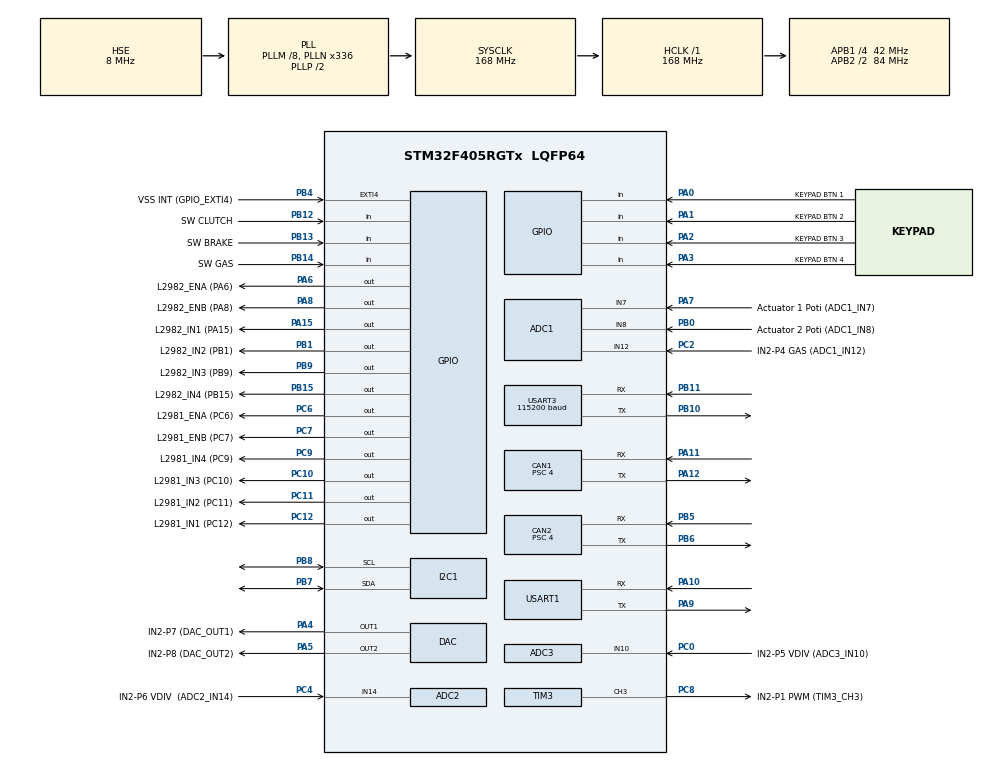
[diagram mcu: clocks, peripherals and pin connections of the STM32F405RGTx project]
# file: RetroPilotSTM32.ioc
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Mcu.Family=STM32F4
NVIC.USART3_IRQn=true\:0\:0\:false\:false\:true\:true\:true
PA2.GPIO_PuPd=GPIO_PULLUP
PH0-OSC_IN.Signal=RCC_OSC_IN
RCC.CortexFreq_Value=168000000
NVIC.CAN2_RX0_IRQn=true\:0\:0\:false\:false\:true\:true\:true
PB10.Mode=Asynchronous
ADC2.Channel-0\#ChannelRegularConversion=ADC_CHANNEL_14
PB4.GPIO_ModeDefaultEXTI=GPIO_MODE_IT_FALLING
PC10.Signal=GPIO_Output
PC12.Signal=GPIO_Output
PB14.GPIO_Label=SW GAS
VP_IWDG_VS_IWDG.Mode=IWDG_Activate
PA3.GPIO_PuPd=GPIO_PULLUP
PC0.GPIO_Label=IN2-P5 VDIV (ADC3_IN10)
PC6.GPIO_Label=L2981_ENA (PC6)
PA11.Mode=Master
PA6.GPIO_Label=L2982_ENA (PA6)
PB0.GPIO_Label=Actuator 2 Poti (ADC1_IN8)
PB13.GPIO_Label=SW BRAKE
PB11.Signal=USART3_RX
PB13.Signal=GPIO_Input
PB15.Signal=GPIO_Output
ADC3.Channel-0\#ChannelRegularConversion=ADC_CHANNEL_10
RCC.SYSCLKSource=RCC_SYSCLKSOURCE_PLLCLK
ProjectManager.StackSize=0x400
SH.COMP_DAC2_group.0=DAC_OUT2,DAC_OUT2
PA15.GPIO_Label=L2982_IN1 (PA15)
PA12.Signal=CAN1_TX
USART3.BaudRate=115200
NVIC.CAN1_TX_IRQn=true\:0\:0\:false\:false\:true\:true\:true
RCC.HCLKFreq_Value=168000000
RCC.APB2TimFreq_Value=168000000
TIM3.Period=2000
PB6.Signal=CAN2_TX
PC7.Signal=GPIO_Output
PB6.Mode=Slave
TIM2.ClockDivision=TIM_CLOCKDIVISION_DIV1
NVIC.CAN1_SCE_IRQn=true\:0\:0\:false\:false\:true\:true\:true
PA1.GPIO_PuPd=GPIO_PULLUP
RCC.AHBFreq_Value=168000000
PH0-OSC_IN.Mode=HSE-External-Oscillator
ADC1.Channel-0\#ChannelRegularConversion=ADC_CHANNEL_7
RCC.HSE_VALUE=8000000
PB12.GPIO_Label=SW CLUTCH
PC4.GPIO_Label=IN2-P6 VDIV  (ADC2_IN14)
PA14.Mode=Serial_Wire
CAN2.Prescaler=4
TIM3.Prescaler=42
PB1.GPIO_Label=L2982_IN2 (PB1)
PC11.GPIO_Label=L2981_IN2 (PC11)
PB5.Mode=Slave
NVIC.TIM2_IRQn=true\:0\:0\:false\:false\:true\:true\:true
SH.ADCx_IN8.0=ADC1_IN8,IN8
PB7.Signal=I2C1_SDA
PA8.Signal=GPIO_Output
ADC1.SamplingTime-0\#ChannelRegularConversion=ADC_SAMPLETIME_3CYCLES
PH1-OSC_OUT.Mode=HSE-External-Oscillator
CAN1.Prescaler=4
Mcu.Package=LQFP64
PB9.Signal=GPIO_Output
TIM2.Prescaler=21000-1
PB14.GPIO_PuPd=GPIO_PULLUP
PB1.Signal=GPIO_Output
PA6.Signal=GPIO_Output
CAN2.BS1=CAN_BS1_14TQ
CAN2.BS2=CAN_BS2_6TQ
SH.ADCx_IN14.0=ADC2_IN14,IN14
PA2.GPIO_Label=KEYPAD BTN 3
ADC3.Rank-0\#ChannelRegularConversion=1
IWDG.Reload=100
PA10.Signal=USART1_RX
PA15.Signal=GPIO_Output
ADC2.SamplingTime-0\#ChannelRegularConversion=ADC_SAMPLETIME_3CYCLES
RCC.APB2CLKDivider=RCC_HCLK_DIV2
RCC.APB1TimFreq_Value=84000000
ADC2.Rank-0\#ChannelRegularConversion=1
NVIC.USART1_IRQn=true\:0\:0\:false\:false\:true\:true\:true
PA4.GPIO_Label=IN2-P7 (DAC_OUT1)
PC2.GPIO_Label=IN2-P4 GAS (ADC1_IN12)
NVIC.RCC_IRQn=true\:0\:0\:false\:false\:true\:true\:false
PB4.Signal=GPXTI4
PA3.Signal=GPIO_Input
CAN1.CalculateTimeQuantum=95.23809523809524
RCC.PLLSourceVirtual=RCC_PLLSOURCE_HSE
SH.COMP_DAC1_group.0=DAC_OUT1,DAC_OUT1
NVIC.EXTI4_IRQn=true\:0\:0\:false\:false\:true\:true\:true
NVIC.CAN2_TX_IRQn=true\:0\:0\:false\:false\:true\:true\:true
ADC1.Rank-0\#ChannelRegularConversion=1
PB9.GPIO_Label=L2982_IN3 (PB9)
PA10.Mode=Asynchronous
PC10.GPIO_Label=L2981_IN3 (PC10)
PC9.GPIO_Label=L2981_IN4 (PC9)
PC11.Signal=GPIO_Output
PC8.Signal=S_TIM3_CH3
PC4.Signal=ADCx_IN14
PC2.Signal=ADCx_IN12
PC6.Signal=GPIO_Output
PC0.Signal=ADCx_IN10
RCC.APB1CLKDivider=RCC_HCLK_DIV4
SH.S_TIM3_CH3.0=TIM3_CH3,PWM Generation3 CH3
PA0-WKUP.GPIO_Label=KEYPAD BTN 1
PA0-WKUP.Signal=GPIO_Input
PC8.GPIO_Label=IN2-P1 PWM (TIM3_CH3)
PA13.Signal=SYS_JTMS-SWDIO
TIM3.Channel-PWM\ Generation3\ CH3=TIM_CHANNEL_3
SH.ADCx_IN12.0=ADC1_IN12,IN12
PA9.Mode=Asynchronous
ADC3.SamplingTime-0\#ChannelRegularConversion=ADC_SAMPLETIME_3CYCLES
PA8.GPIO_Label=L2982_ENB (PA8)
CAN1.BS2=CAN_BS2_6TQ
PB11.Mode=Asynchronous
CAN1.BS1=CAN_BS1_14TQ
ProjectManager.TargetToolchain=Other Toolchains (GPDSC)
SH.ADCx_IN7.0=ADC1_IN7,IN7
PA9.Signal=USART1_TX
RCC.HSE_Timout=500
PB4.GPIO_PuPd=GPIO_PULLUP
RCC.LSE_VALUE=32768
PA1.Signal=GPIO_Input
PB10.Signal=USART3_TX
PB14.Signal=GPIO_Input
PA5.Signal=COMP_DAC2_group
board=custom
RCC.VCOOutputFreq_Value=336000000
PB13.GPIO_PuPd=GPIO_PULLUP
RCC.APB2Freq_Value=84000000
PB4.GPIO_Label=VSS INT (GPIO_EXTI4)
PB15.GPIO_Label=L2982_IN4 (PB15)
VP_TIM2_VS_ClockSourceINT.Mode=Internal
PA1.GPIO_Label=KEYPAD BTN 2
CAN2.CalculateTimeQuantum=95.23809523809524
PH1-OSC_OUT.Signal=RCC_OSC_OUT
TIM2.Period=4-1
PA13.Mode=Serial_Wire
Mcu.Name=STM32F405RGTx
PA2.Signal=GPIO_Input
PC7.GPIO_Label=L2981_ENB (PC7)
RCC.48MHZClocksFreq_Value=84000000
PA4.Signal=COMP_DAC1_group
RCC.SYSCLKFreq_VALUE=168000000
PB5.Signal=CAN2_RX
PA7.GPIO_Label=Actuator 1 Poti (ADC1_IN7)
ADC1.master=1
PA12.Mode=Master
PA5.GPIO_Label=IN2-P8 (DAC_OUT2)
ADC2.NbrOfConversionFlag=1
USART3.VirtualMode=VM_ASYNC
PC12.GPIO_Label=L2981_IN1 (PC12)
USART1.VirtualMode=VM_ASYNC
PA11.Signal=CAN1_RX
PB7.Mode=I2C
PA14.Signal=SYS_JTCK-SWCLK
SH.ADCx_IN10.0=ADC3_IN10,IN10
ProjectManager.HeapSize=0x200
NVIC.CAN2_SCE_IRQn=true\:0\:0\:false\:false\:true\:true\:true
RCC.HSI_VALUE=16000000
NVIC.PriorityGroup=NVIC_PRIORITYGROUP_4
ADC1.NbrOfConversionFlag=1
RCC.PLLM=8
PB8.Mode=I2C
RCC.PLLN=336
IWDG.Prescaler=IWDG_PRESCALER_32
PB8.Signal=I2C1_SCL
PA0-WKUP.GPIO_PuPd=GPIO_PULLUP
PC9.Signal=GPIO_Output
PB12.GPIO_PuPd=GPIO_PULLUP
RCC.APB1Freq_Value=42000000
ADC3.NbrOfConversionFlag=1
PB0.Signal=ADCx_IN8
PB12.Signal=GPIO_Input
NVIC.CAN1_RX0_IRQn=true\:0\:0\:false\:false\:true\:true\:true
PA3.GPIO_Label=KEYPAD BTN 4
PA7.Signal=ADCx_IN7

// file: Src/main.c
/* USER CODE BEGIN Header */
/**
  ******************************************************************************
  * @file           : main.c
  * @brief          : Main program body
  ******************************************************************************
  * @attention
  *
  * <h2><center>&copy; Copyright (c) 2020 STMicroelectronics.
  * All rights reserved.</center></h2>
  *
  * This software component is licensed by ST under BSD 3-Clause license,
  * the "License"; You may not use this file except in compliance with the
  * License. You may obtain a copy of the License at:
  *                        opensource.org/licenses/BSD-3-Clause
  *
  ******************************************************************************
  */
/* USER CODE END Header */
#include "main.h"
#include "adc.h"
#include "can.h"
#include "dac.h"
#include "i2c.h"
#include "iwdg.h"
#include "tim.h"
#include "usart.h"
#include "gpio.h"

/* USER CODE BEGIN Includes */

#include <stdio.h>
#include "core.h"
#include "uart.h"
#include "critical.h"
#include "logger.h"
#include "can_handler.h"
#include "retropilot/canhelper.h"

#ifdef MODULE_RETROPILOT_ECU
#include "retropilot/main.h"
#endif
#ifdef MODULE_PEDAL
#include "pedal/main.h"
#endif
#ifdef MODULE_CANFILTER
#include "canfilter/main.h"
#endif

/* USER CODE END Includes */

/* USER CODE BEGIN PV */

/**
  * @brief  Period elapsed callback in non blocking mode
  * @param  htim: TIM handle
  * @retval None
  */
void HAL_TIM_PeriodElapsedCallback(TIM_HandleTypeDef *htim)
{
  if (htim->Instance == htim2.Instance)
  {
      can_send_internal();
  }

  module_timer(htim);
}

/**
  * @brief EXTI line detection callbacks
  * @param GPIO_Pin: Specifies the pins connected EXTI line
  * @retval None
  */
void HAL_GPIO_EXTI_Callback(uint16_t GPIO_Pin)
{
  module_interrupt(GPIO_Pin);
}

void MX_CAN1_Start() {
/*##-2- Configure the CAN Filter ###########################################*/
  CAN_FilterTypeDef  sFilterConfig;

  sFilterConfig.FilterBank = 0;
  sFilterConfig.FilterMode = CAN_FILTERMODE_IDMASK;
  sFilterConfig.FilterScale = CAN_FILTERSCALE_32BIT;
  sFilterConfig.FilterIdHigh = 0x0000;
  sFilterConfig.FilterIdLow = 0x0000;
  sFilterConfig.FilterMaskIdHigh = 0x0000;
  sFilterConfig.FilterMaskIdLow = 0x0000;
  sFilterConfig.FilterFIFOAssignment = CAN_RX_FIFO0;
  sFilterConfig.FilterActivation = ENABLE;
  sFilterConfig.SlaveStartFilterBank = 14;

  if (HAL_CAN_ConfigFilter(&hcan1, &sFilterConfig) != HAL_OK)
  {
    /* Filter configuration Error */
    Error_Handler();
  }

  /*##-3- Start the CAN peripheral ###########################################*/
  if (HAL_CAN_Start(&hcan1) != HAL_OK)
  {
    /* Start Error */
    Error_Handler();
  }

  /*##-4- Activate CAN RX notification #######################################*/
  if (HAL_CAN_ActivateNotification(&hcan1, CAN_IT_RX_FIFO0_MSG_PENDING) != HAL_OK)
  {
    /* Notification Error */
    Error_Handler();
  }
}

void MX_CAN2_Start() {
/*##-2- Configure the CAN Filter ###########################################*/
  CAN_FilterTypeDef  sFilterConfig;

  sFilterConfig.FilterBank = 14;
  sFilterConfig.FilterMode = CAN_FILTERMODE_IDMASK;
  sFilterConfig.FilterScale = CAN_FILTERSCALE_32BIT;
  sFilterConfig.FilterIdHigh = 0x0000;
  sFilterConfig.FilterIdLow = 0x0000;
  sFilterConfig.FilterMaskIdHigh = 0x0000;
  sFilterConfig.FilterMaskIdLow = 0x0000;
  sFilterConfig.FilterFIFOAssignment = CAN_RX_FIFO1;
  sFilterConfig.FilterActivation = ENABLE;
  sFilterConfig.SlaveStartFilterBank = 14;

  if (HAL_CAN_ConfigFilter(&hcan2, &sFilterConfig) != HAL_OK)
  {
    /* Filter configuration Error */
    Error_Handler();
  }

  /*##-3- Start the CAN peripheral ###########################################*/
  if (HAL_CAN_Start(&hcan2) != HAL_OK)
  {
    /* Start Error */
    Error_Handler();
  }

  /*##-4- Activate CAN RX notification #######################################*/
  if (HAL_CAN_ActivateNotification(&hcan2, CAN_IT_RX_FIFO1_MSG_PENDING) != HAL_OK)
  {
    /* Notification Error */
    Error_Handler();
  }
}

/* USER CODE END PV */

void SystemClock_Config(void);

int main(void)
{

  /* MCU Configuration--------------------------------------------------------*/

  /* Reset of all peripherals, Initializes the Flash interface and the Systick. */
  HAL_Init();

  /* Configure the system clock */
  SystemClock_Config();

  /* Initialize all configured peripherals */
  MX_GPIO_Init();
  MX_USART1_UART_Init();
  MX_USART3_UART_Init();
  MX_CAN1_Init();
  MX_CAN2_Init();
  MX_TIM2_Init();
  MX_ADC1_Init();
  MX_ADC2_Init();
  MX_ADC3_Init();
  MX_DAC_Init();
  MX_I2C1_Init();
  MX_IWDG_Init();
  MX_TIM3_Init();
  /* USER CODE BEGIN 2 */

  micros_init();
  can_init_all();

  module_setup();

  MX_CAN1_Start();
  MX_CAN2_Start();

  HAL_TIM_Base_Start_IT(&htim2);

  /* USER CODE END 2 */

  /* Infinite loop */
  /* USER CODE BEGIN WHILE */

  uint8_t buf[8];

/* 0.3/1.5 = 0;
0.3%1.5 = 0.3;

1.4/1.5 = 0;
1.4 - 0 = 1.4;

1.6 / 1.5 = 1
1.6 - 1.5
 */

/* for (int c=-25; c<25; c++) {
     if (HAL_IWDG_Refresh(&hiwdg) != HAL_OK) {logger_e("unable to reset watchdog timer!\n");}
 logger("------- c = %d --------\n",c );
  float currentSteeringAngle = c; currentSteeringAngle=currentSteeringAngle/10.0f;
  float ang = currentSteeringAngle;
  float fraction = (float)(((int)(ang*10))%15)/10.0f;
  if (fraction > 0.7) {ang++; fraction=fraction-1.5f;}
  else if (fraction < -0.7) {ang--; fraction=1.5f+fraction;}
  ang = ((int)(ang/1.5f))*1.5f;

  canhelper_reset_buffer(buf);

  logger("REAL: %d   PUT angle: %d / fraction: %d\n", (int)(currentSteeringAngle*10), ((int)(ang*10)), (int)(fraction*10));
  canhelper_put_be_float_signed(buf, ang, 0, 1.5f, 3, 12);
  canhelper_put_be_float_signed(buf, fraction, 0, 0.1f, 39, 4);
  //canhelper_print_buffer(buf);
  float steerAngle    = canhelper_parse_be_float_signed(buf, 0, 1.5f, 3, 12);
  float steerFraction = canhelper_parse_be_float_signed(buf, 0, 0.1f, 39, 4);
  logger("REAL: %d   PARSE angle: %d / fraction: %d\n", ((int)(steerAngle*10+steerFraction*10)), (int)(steerAngle*10), (int)(steerFraction*10));
  logger("------- finished --------\n");
}
 */
  while(1) {
    if (HAL_IWDG_Refresh(&hiwdg) != HAL_OK) {logger_e("unable to reset watchdog timer!\n");}

    module_loop();
  }

    /* USER CODE END WHILE */

}

void SystemClock_Config(void)
{
  RCC_OscInitTypeDef RCC_OscInitStruct = {0};
  RCC_ClkInitTypeDef RCC_ClkInitStruct = {0};

  /** Configure the main internal regulator output voltage
  */
  __HAL_RCC_PWR_CLK_ENABLE();
  __HAL_PWR_VOLTAGESCALING_CONFIG(PWR_REGULATOR_VOLTAGE_SCALE1);
  /** Initializes the RCC Oscillators according to the specified parameters
  * in the RCC_OscInitTypeDef structure.
  */
  RCC_OscInitStruct.OscillatorType = RCC_OSCILLATORTYPE_LSI|RCC_OSCILLATORTYPE_HSE;
  RCC_OscInitStruct.HSEState = RCC_HSE_ON;
  RCC_OscInitStruct.LSIState = RCC_LSI_ON;
  RCC_OscInitStruct.PLL.PLLState = RCC_PLL_ON;
  RCC_OscInitStruct.PLL.PLLSource = RCC_PLLSOURCE_HSE;
  RCC_OscInitStruct.PLL.PLLM = 8;
  RCC_OscInitStruct.PLL.PLLN = 336;
  RCC_OscInitStruct.PLL.PLLP = RCC_PLLP_DIV2;
  RCC_OscInitStruct.PLL.PLLQ = 4;
  if (HAL_RCC_OscConfig(&RCC_OscInitStruct) != HAL_OK)
  {
    Error_Handler();
  }
  /** Initializes the CPU, AHB and APB buses clocks
  */
  RCC_ClkInitStruct.ClockType = RCC_CLOCKTYPE_HCLK|RCC_CLOCKTYPE_SYSCLK
                              |RCC_CLOCKTYPE_PCLK1|RCC_CLOCKTYPE_PCLK2;
  RCC_ClkInitStruct.SYSCLKSource = RCC_SYSCLKSOURCE_PLLCLK;
  RCC_ClkInitStruct.AHBCLKDivider = RCC_SYSCLK_DIV1;
  RCC_ClkInitStruct.APB1CLKDivider = RCC_HCLK_DIV4;
  RCC_ClkInitStruct.APB2CLKDivider = RCC_HCLK_DIV2;

  if (HAL_RCC_ClockConfig(&RCC_ClkInitStruct, FLASH_LATENCY_5) != HAL_OK)
  {
    Error_Handler();
  }
}

void Error_Handler(void)
{
  /* USER CODE BEGIN Error_Handler_Debug */
  /* User can add his own implementation to report the HAL error return state */

  logger_e("Error_Handler - unrecoverable error");
  while(true) {}

  /* USER CODE END Error_Handler_Debug */
}

/************************ (C) COPYRIGHT STMicroelectronics *****END OF FILE****/
